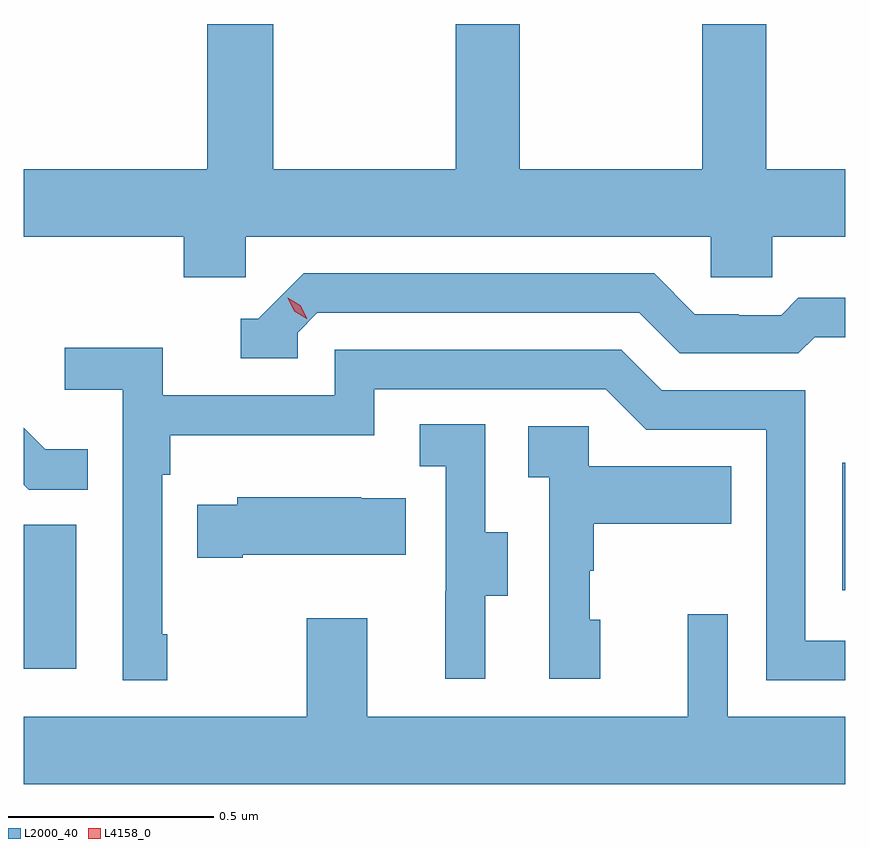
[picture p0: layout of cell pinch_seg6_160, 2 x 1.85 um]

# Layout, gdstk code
import gdstk
lib = gdstk.Library(unit=1e-6, precision=1e-09)
def R(c, l, rs):  # rectangles x0, y0, x1, y1
    for r in rs: c.add(gdstk.rectangle(r[:2], r[2:], *l))
def P(c, l, *ps):  # polygons
    for p in ps: c.add(gdstk.Polygon(p, *l))
L2000_40 = (2000, 40)
L4158_0 = (4158, 0)

pinch_seg6_160 = lib.new_cell('pinch_seg6_160')
R(pinch_seg6_160, L2000_40, [(1142.381,939.624,1142.509,939.975), (1144.374,939.816,1144.381,940.126)])
P(pinch_seg6_160, L2000_40, [(1142.922,940.676),(1144.053,940.676),(1144.053,940.578),(1144.203,940.578),(1144.203,940.676),(1144.381,940.676),(1144.381,940.84),(1144.188,940.84),(1144.188,941.194),(1144.033,941.194),(1144.033,940.84),(1143.588,940.84),(1143.588,941.194),(1143.433,941.194),(1143.433,940.84),(1142.988,940.84),(1142.988,941.194),(1142.828,941.194),(1142.828,940.84),(1142.381,940.84),(1142.381,940.676),(1142.771,940.676),(1142.771,940.578),(1142.922,940.578)],
  [(1143.048,940.443),(1143.096,940.491),(1143.879,940.491),(1143.978,940.392),(1144.267,940.392),(1144.306,940.431),(1144.381,940.431),(1144.381,940.528),(1144.267,940.528),(1144.225,940.485),(1144.122,940.485),(1144.122,940.488),(1144.015,940.488),(1143.916,940.587),(1143.063,940.587),(1142.952,940.476),(1142.909,940.476),(1142.909,940.38),(1143.048,940.38)],
  [(1142.731,939.709),(1142.718,939.709),(1142.718,940.097),(1142.738,940.097),(1142.738,940.193),(1143.234,940.193),(1143.234,940.305),(1143.798,940.305),(1143.897,940.206),(1144.188,940.206),(1144.188,939.597),(1144.381,939.597),(1144.381,939.693),(1144.284,939.693),(1144.284,940.302),(1143.934,940.302),(1143.835,940.401),(1143.138,940.401),(1143.138,940.29),(1142.72,940.29),(1142.72,940.406),(1142.481,940.406),(1142.481,940.304),(1142.622,940.304),(1142.622,939.597),(1142.731,939.597)],
  [(1143.505,939.802),(1143.559,939.802),(1143.559,939.957),(1143.504,939.957),(1143.504,940.22),(1143.345,940.22),(1143.345,940.117),(1143.408,940.117),(1143.408,939.813),(1143.407,939.813),(1143.407,939.6),(1143.505,939.6)],
  [(1143.784,939.744),(1143.759,939.744),(1143.759,939.863),(1143.769,939.863),(1143.769,939.977),(1144.103,939.977),(1144.103,940.117),(1143.756,940.117),(1143.756,940.215),(1143.609,940.215),(1143.609,940.091),(1143.66,940.091),(1143.66,939.6),(1143.784,939.6)],
  [(1142.537,940.159),(1142.433,940.159),(1142.381,940.211),(1142.381,940.072),(1142.393,940.06),(1142.537,940.06)],
  [(1142.914,939.902),(1143.311,939.902),(1143.311,940.039),(1143.203,940.039),(1143.203,940.042),(1142.901,940.042),(1142.901,940.024),(1142.803,940.024),(1142.803,939.895),(1142.914,939.895)],
  [(1144.381,939.508),(1144.095,939.508),(1144.095,939.757),(1143.998,939.757),(1143.998,939.508),(1143.217,939.508),(1143.217,939.748),(1143.07,939.748),(1143.07,939.508),(1142.381,939.508),(1142.381,939.344),(1144.381,939.344)])
P(pinch_seg6_160, L4158_0, [(1143.07,940.476),(1143.04,940.495),(1143.024,940.528),(1143.024,940.528),(1143.024,940.528),(1143.054,940.509),(1143.071,940.476),(1143.071,940.476)])

lib.write_gds('pinch_seg6_160.gds')
